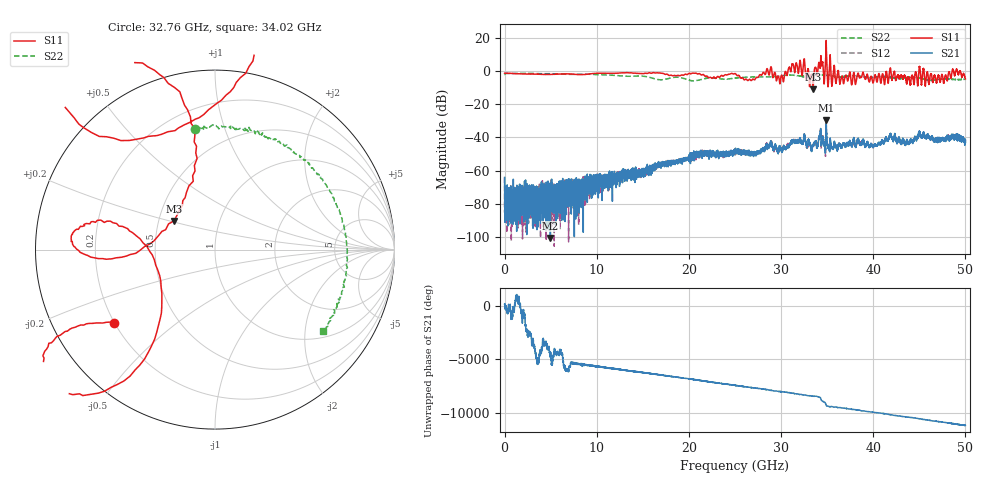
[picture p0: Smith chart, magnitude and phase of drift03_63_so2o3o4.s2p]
!Created with skrf (http://scikit-rf.org).
# Hz S RI R 50.0
!freq ReS11 ImS11 ReS21 ImS21 ReS12 ImS12 ReS22 ImS22
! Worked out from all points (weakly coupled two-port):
!   10001 points, 300 kHz to 50 GHz, reference 50 ohm
!   highest |S21| = -29.44 dB at 34.89 GHz (marker M1); lowest = -100.6 dB at 4.965 GHz (marker M2)
!   lowest |S11| = -11.1 dB at 33.47 GHz (marker M3), VSWR 1.77, Z = 30.1 + j10.4 ohm
!   |S11| at or under -10 dB: 33.44866 GHz to 33.48256 GHz (33.9 MHz wide, 0.101 % of centre)
!   |S22| runs from -5.9 to -1.3 dB; largest |S21 - S12| = 0.0071
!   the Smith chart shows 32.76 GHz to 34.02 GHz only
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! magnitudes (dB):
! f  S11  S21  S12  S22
! 300 kHz  -1.3  -64.1  -64.1  -2.0
! 340.3 MHz  -1.4  -72.4  -76.2  -1.4
! 4.965 GHz  -2.1  -100.6  -74.9  -1.6
! 8.335 GHz  -2.2  -66.3  -69.4  -1.9
! 16.67 GHz  -1.1  -56.8  -56.5  -5.2
! 25 GHz  -1.5  -49.5  -48.9  -4.3
! 26.92 GHz  -4.9  -48.7  -50.3  -3.5
! 28.72 GHz  -2.3  -44.9  -46.0  -3.6
! 30.06 GHz  -2.5  -47.0  -47.9  -2.8
! 31.87 GHz  -1.4  -41.8  -41.9  -2.9
! 33.34 GHz  -2.2  -47.3  -47.8  -2.9
! 33.47 GHz  -11.1  -45.4  -44.8  -2.8
! 34.29 GHz  5.9  -36.1  -35.4  -2.3
! 34.89 GHz  17.5  -29.4  -31.2  -2.3
! 36.58 GHz  -3.5  -46.5  -46.3  -3.6
! 40.2 GHz  -2.3  -44.7  -44.0  -3.7
! 41.67 GHz  -5.5  -41.4  -40.4  -3.7
! 43.84 GHz  -3.9  -43.4  -43.3  -3.8
! 45.19 GHz  -5.6  -39.1  -38.8  -4.5
! 47.06 GHz  -2.9  -41.2  -41.1  -5.0
! 49.21 GHz  -2.0  -39.0  -39.7  -5.2
! 50 GHz  -4.7  -41.7  -41.9  -5.0
